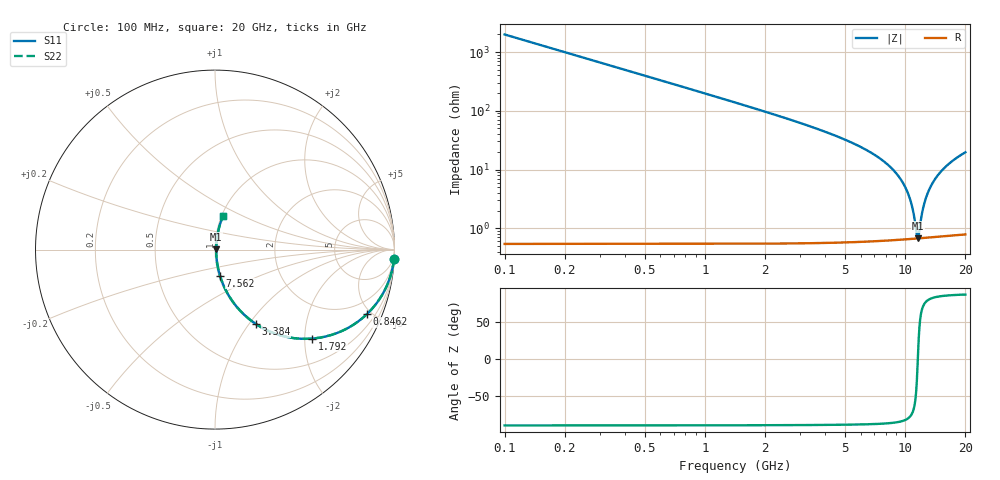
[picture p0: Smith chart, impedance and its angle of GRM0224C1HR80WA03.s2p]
!Murata Part Number: GRM0224C1HR80WA03
!These Parameters are Measured in Series Mode Connection
!Data Generated on Mar 30, 2021
!  o--ll--o
!Port1  Port2
!  o------o
!Operation Temp=25[degC], DC Bias Voltage=0[V]
!Freq. Start=100[MHz] Stop=20[GHz] 401[Steps]
# Hz S RI R 50
!Freq.(Hz) S11(Real) S11(Imag) S21(Real) S21(Imag) S12(Real) S12(Imag) S22(Real) S22(Imag)
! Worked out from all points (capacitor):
!   401 points, 100 MHz to 20 GHz, reference 50 ohm
!   read as one part in series: C = 800 fF near 199.5 MHz
!   lowest |Z| = 674 mohm at 11.59 GHz (marker M1)
!   series resonance near 11.57 GHz, so ESL is about 240 pH
!   S11 on the Smith chart (normalised r, x): 100 MHz: 1, -40; 846.2 MHz: 1.01, -4.68; 1.792 GHz: 1.01, -2.17; 3.384 GHz: 1.01, -1.07; 7.562 GHz: 1.01, -0.30; 20 GHz: 1.02, +0.39
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1e8  0.9975 -0.0501  0.00253 0.0501  0.00253 0.0501  0.9975 -0.0501
2.99e8  0.9778 -0.147  0.0222 0.147  0.0222 0.147  0.9778 -0.147
3.985e8  0.9611 -0.1927  0.0389 0.1927  0.0389 0.1927  0.9611 -0.1927
8.4625e8  0.8448 -0.3609  0.1552 0.3609  0.1552 0.3609  0.8448 -0.3609
1.7915e9  0.5399 -0.4959  0.4601 0.4959  0.4601 0.4959  0.5399 -0.4959
2.53775e9  0.3586 -0.4759  0.6414 0.4759  0.6414 0.4759  0.3586 -0.4759
3.3835e9  0.2265 -0.4134  0.7735 0.4134  0.7735 0.4134  0.2265 -0.4134
3.43325e9  0.2206 -0.4094  0.7794 0.4094  0.7794 0.4094  0.2206 -0.4094
4.82625e9  0.1078 -0.3018  0.8922 0.3018  0.8922 0.3018  0.1078 -0.3018
6.7665e9  0.0413 -0.1841  0.9587 0.1841  0.9587 0.1841  0.0413 -0.1841
7.5625e9  0.0278 -0.1454  0.9722 0.1454  0.9722 0.1454  0.0278 -0.1454
9.00525e9  0.0136 -0.0852  0.9864 0.0852  0.9864 0.0852  0.0136 -0.0852
1.005e10  0.00873 -0.0478  0.9913 0.0478  0.9913 0.0478  0.00873 -0.0478
1.079625e10  0.0071 -0.0235  0.9929 0.0235  0.9929 0.0235  0.0071 -0.0235
1.109475e10  0.0068 -0.0142  0.9932 0.0142  0.9932 0.0142  0.0068 -0.0142
1.1443e10  0.00666 -0.00379  0.9933 0.00379  0.9933 0.00379  0.00666 -0.00379
1.159225e10  0.00667 0.000595  0.9933 -0.000595  0.9933 -0.000595  0.00667 0.000595
1.238825e10  0.00733 0.023  0.9927 -0.023  0.9927 -0.023  0.00733 0.023
1.338325e10  0.00939 0.0492  0.9906 -0.0492  0.9906 -0.0492  0.00939 0.0492
1.477625e10  0.0141 0.0827  0.9859 -0.0827  0.9859 -0.0827  0.0141 0.0827
1.67165e10  0.0233 0.1247  0.9767 -0.1247  0.9767 -0.1247  0.0233 0.1247
2e10  0.0441 0.1863  0.9559 -0.1863  0.9559 -0.1863  0.0441 0.1863
